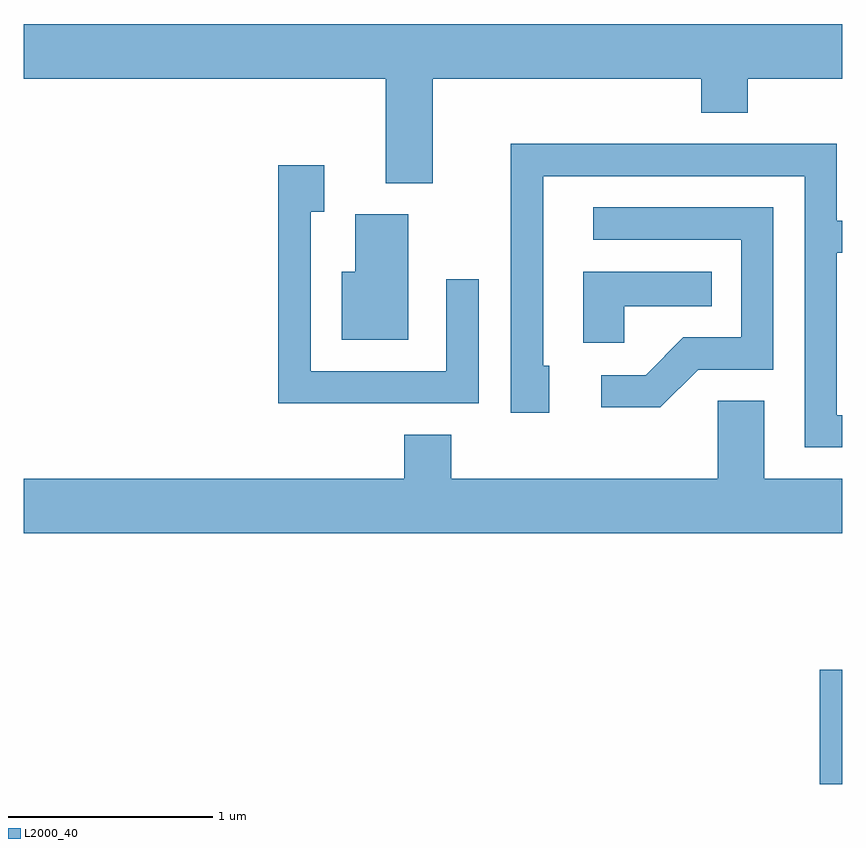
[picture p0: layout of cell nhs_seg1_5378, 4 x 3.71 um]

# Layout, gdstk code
import gdstk
lib = gdstk.Library(unit=1e-6, precision=1e-09)
def R(c, l, rs):  # rectangles x0, y0, x1, y1
    for r in rs: c.add(gdstk.rectangle(r[:2], r[2:], *l))
def P(c, l, *ps):  # polygons
    for p in ps: c.add(gdstk.Polygon(p, *l))
L2000_40 = (2000, 40)

nhs_seg1_5378 = lib.new_cell('nhs_seg1_5378')
R(nhs_seg1_5378, L2000_40, [(351.501,871.712,351.611,872.269)])
P(nhs_seg1_5378, L2000_40, [(347.611,875.156),(349.381,875.156),(349.381,874.646),(349.609,874.646),(349.609,875.156),(350.921,875.156),(350.921,874.991),(351.149,874.991),(351.149,875.156),(351.611,875.156),(351.611,875.424),(347.611,875.424)],
  [(351.611,873.514),(351.584,873.514),(351.584,874.306),(351.611,874.306),(351.611,874.464),(351.584,874.464),(351.584,874.839),(349.991,874.839),(349.991,873.526),(350.179,873.526),(350.179,873.754),(350.149,873.754),(350.149,874.681),(351.426,874.681),(351.426,873.356),(351.611,873.356)],
  [(349.834,874.178),(349.676,874.178),(349.676,873.729),(349.014,873.729),(349.014,874.506),(349.079,874.506),(349.079,874.734),(348.856,874.734),(348.856,873.571),(349.834,873.571)],
  [(350.907,873.736),(351.274,873.736),(351.274,874.529),(350.393,874.529),(350.393,874.371),(351.116,874.371),(351.116,873.894),(350.834,873.894),(350.649,873.709),(350.433,873.709),(350.433,873.551),(350.722,873.551)],
  [(349.489,874.494),(349.231,874.494),(349.231,874.214),(349.166,874.214),(349.166,873.881),(349.489,873.881)],
  [(350.544,874.046),(350.973,874.046),(350.973,874.214),(350.346,874.214),(350.346,873.866),(350.544,873.866)],
  [(351.611,873.204),(351.229,873.204),(351.229,873.584),(351.001,873.584),(351.001,873.204),(349.699,873.204),(349.699,873.419),(349.471,873.419),(349.471,873.204),(347.611,873.204),(347.611,872.936),(351.611,872.936)])

lib.write_gds('nhs_seg1_5378.gds')
